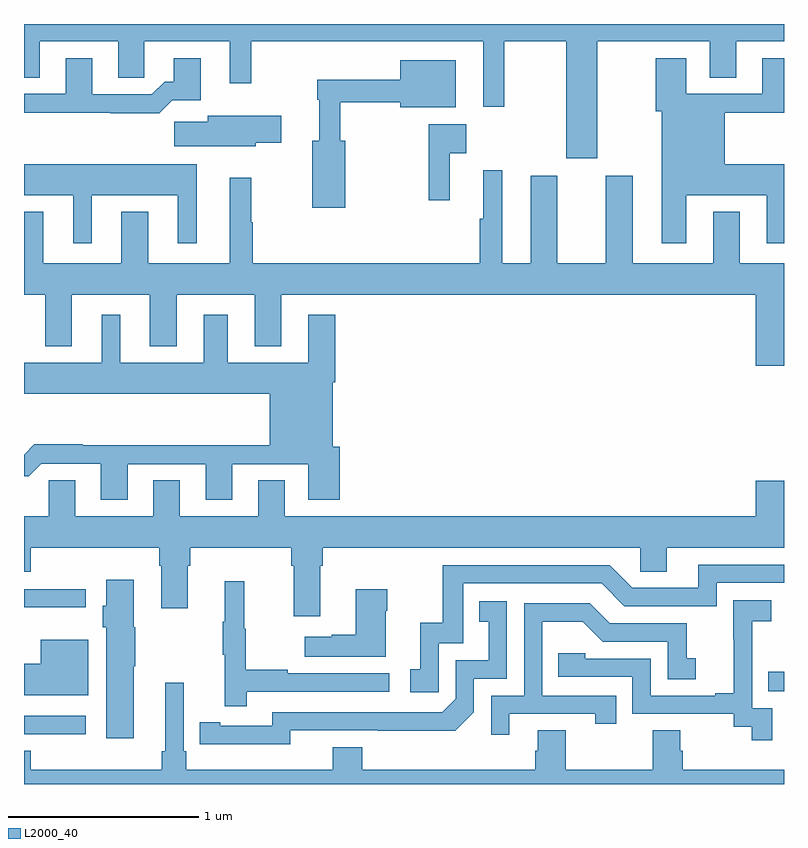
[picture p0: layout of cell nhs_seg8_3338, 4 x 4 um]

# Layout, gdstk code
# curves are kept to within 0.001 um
import gdstk
lib = gdstk.Library(unit=1e-6, precision=1e-09)
def R(c, l, rs):  # rectangles x0, y0, x1, y1
    for r in rs: c.add(gdstk.rectangle(r[:2], r[2:], *l))
def P(c, l, *ps):  # polygons
    for p in ps: c.add(gdstk.Polygon(p, *l))
L2000_40 = (2000, 40)

nhs_seg8_3338 = lib.new_cell('nhs_seg8_3338')
R(nhs_seg8_3338, L2000_40, [(317,1138.163,317.326,1138.26), (320.917,1138.389,321,1138.49), (317,1138.829,317.326,1138.926)])
P(nhs_seg8_3338, L2000_40, [(320.017,1141.808),(320.609,1141.808),(320.609,1141.618),(320.749,1141.618),(320.749,1141.808),(321,1141.808),(321,1141.9),(317,1141.9),(317,1141.618),(317.083,1141.618),(317.083,1141.808),(317.495,1141.808),(317.495,1141.618),(317.634,1141.618),(317.634,1141.808),(318.083,1141.808),(318.083,1141.587),(318.197,1141.587),(318.197,1141.808),(319.418,1141.808),(319.418,1141.464),(319.528,1141.464),(319.528,1141.808),(319.853,1141.808),(319.853,1141.194),(320.017,1141.194)],
  [(317.78,1141.499),(317.929,1141.499),(317.929,1141.72),(317.789,1141.72),(317.789,1141.597),(317.74,1141.597),(317.673,1141.53),(317.359,1141.53),(317.359,1141.72),(317.219,1141.72),(317.219,1141.533),(317,1141.533),(317,1141.432),(317.455,1141.432),(317.455,1141.43),(317.711,1141.43)],
  [(320.485,1140.998),(320.909,1140.998),(320.909,1140.747),(321,1140.747),(321,1141.162),(320.689,1141.162),(320.689,1141.432),(321,1141.432),(321,1141.72),(320.885,1141.72),(320.885,1141.533),(320.485,1141.533),(320.485,1141.72),(320.326,1141.72),(320.326,1141.44),(320.357,1141.44),(320.357,1140.747),(320.485,1140.747)],
  [(318.69,1141.285),(318.664,1141.285),(318.664,1141.489),(318.98,1141.489),(318.98,1141.463),(319.273,1141.463),(319.273,1141.708),(318.98,1141.708),(318.98,1141.607),(318.543,1141.607),(318.543,1141.502),(318.554,1141.502),(318.554,1141.285),(318.517,1141.285),(318.517,1140.933),(318.69,1140.933)],
  [(318.22,1141.274),(318.355,1141.274),(318.355,1141.417),(317.966,1141.417),(317.966,1141.385),(317.79,1141.385),(317.79,1141.256),(318.22,1141.256)],
  [(319.241,1141.22),(319.327,1141.22),(319.327,1141.372),(319.131,1141.372),(319.131,1140.972),(319.241,1140.972)],
  [(317.356,1140.998),(317.81,1140.998),(317.81,1140.747),(317.908,1140.747),(317.908,1141.162),(317,1141.162),(317,1140.998),(317.258,1140.998),(317.258,1140.747),(317.356,1140.747)],
  [(320.852,1140.102),(321,1140.102),(321,1140.64),(320.767,1140.64),(320.767,1140.913),(320.627,1140.913),(320.627,1140.64),(320.203,1140.64),(320.203,1141.102),(320.063,1141.102),(320.063,1140.64),(319.807,1140.64),(319.807,1141.102),(319.667,1141.102),(319.667,1140.64),(319.516,1140.64),(319.516,1141.129),(319.418,1141.129),(319.418,1140.876),(319.399,1140.876),(319.399,1140.64),(318.205,1140.64),(318.205,1140.857),(318.197,1140.857),(318.197,1141.09),(318.083,1141.09),(318.083,1140.64),(317.653,1140.64),(317.653,1140.913),(317.513,1140.913),(317.513,1140.64),(317.101,1140.64),(317.101,1140.913),(317,1140.913),(317,1140.476),(317.111,1140.476),(317.111,1140.203),(317.251,1140.203),(317.251,1140.476),(317.663,1140.476),(317.663,1140.203),(317.803,1140.203),(317.803,1140.476),(318.215,1140.476),(318.215,1140.203),(318.355,1140.203),(318.355,1140.476),(320.852,1140.476)],
  [(317.545,1139.583),(317.957,1139.583),(317.957,1139.397),(318.097,1139.397),(318.097,1139.583),(318.497,1139.583),(318.497,1139.397),(318.662,1139.397),(318.662,1139.676),(318.625,1139.676),(318.625,1140.014),(318.638,1140.014),(318.638,1140.37),(318.497,1140.37),(318.497,1140.118),(318.073,1140.118),(318.073,1140.37),(317.945,1140.37),(317.945,1140.118),(317.506,1140.118),(317.506,1140.37),(317.408,1140.37),(317.408,1140.118),(317,1140.118),(317,1139.954),(318.293,1139.954),(318.293,1139.684),(317.309,1139.684),(317.309,1139.687),(317.054,1139.687),(317,1139.633),(317,1139.519),(317.024,1139.519),(317.091,1139.586),(317.405,1139.586),(317.405,1139.397),(317.545,1139.397)],
  [(318.559,1139.048),(318.572,1139.048),(318.572,1139.144),(320.244,1139.144),(320.244,1139.017),(320.383,1139.017),(320.383,1139.144),(321,1139.144),(321,1139.497),(320.852,1139.497),(320.852,1139.308),(318.373,1139.308),(318.373,1139.498),(318.233,1139.498),(318.233,1139.308),(317.821,1139.308),(317.821,1139.498),(317.681,1139.498),(317.681,1139.308),(317.269,1139.308),(317.269,1139.498),(317.13,1139.498),(317.13,1139.308),(317,1139.308),(317,1139.016),(317.035,1139.016),(317.035,1139.144),(317.711,1139.144),(317.711,1139.048),(317.723,1139.048),(317.723,1138.824),(317.863,1138.824),(317.863,1139.048),(317.876,1139.048),(317.876,1139.144),(318.407,1139.144),(318.407,1139.048),(318.419,1139.048),(318.419,1138.782),(318.559,1138.782)],
  [(319.182,1138.641),(319.311,1138.641),(319.311,1138.956),(320.04,1138.956),(320.16,1138.836),(320.646,1138.836),(320.646,1138.959),(321,1138.959),(321,1139.055),(320.549,1139.055),(320.549,1138.932),(320.202,1138.932),(320.082,1139.052),(319.203,1139.052),(319.203,1138.75),(319.085,1138.75),(319.085,1138.503),(319.032,1138.503),(319.032,1138.383),(319.182,1138.383)],
  [(317.578,1138.519),(317.586,1138.519),(317.586,1138.725),(317.578,1138.725),(317.578,1138.975),(317.432,1138.975),(317.432,1138.839),(317.414,1138.839),(317.414,1138.725),(317.432,1138.725),(317.432,1138.14),(317.578,1138.14)],
  [(318.173,1138.386),(318.922,1138.386),(318.922,1138.482),(318.389,1138.482),(318.389,1138.502),(318.166,1138.502),(318.166,1138.716),(318.158,1138.716),(318.158,1138.966),(318.056,1138.966),(318.056,1138.753),(318.045,1138.753),(318.045,1138.579),(318.056,1138.579),(318.056,1138.308),(318.173,1138.308)],
  [(318.904,1138.811),(318.912,1138.811),(318.912,1138.924),(318.746,1138.924),(318.746,1138.685),(318.62,1138.685),(318.62,1138.675),(318.477,1138.675),(318.477,1138.571),(318.904,1138.571)],
  [(320.937,1138.299),(320.832,1138.299),(320.832,1138.529),(320.834,1138.529),(320.834,1138.757),(320.932,1138.757),(320.932,1138.867),(320.734,1138.867),(320.734,1138.661),(320.735,1138.661),(320.735,1138.378),(320.639,1138.378),(320.639,1138.365),(320.298,1138.365),(320.298,1138.56),(319.953,1138.56),(319.953,1138.587),(319.813,1138.587),(319.813,1138.464),(320.202,1138.464),(320.202,1138.269),(320.736,1138.269),(320.736,1138.201),(320.829,1138.201),(320.829,1138.131),(320.937,1138.131)],
  [(318.402,1138.182),(319.27,1138.181),(319.368,1138.278),(319.368,1138.455),(319.542,1138.455),(319.542,1138.861),(319.396,1138.861),(319.396,1138.755),(319.445,1138.755),(319.445,1138.551),(319.272,1138.551),(319.272,1138.35),(319.2,1138.278),(318.306,1138.278),(318.306,1138.206),(318.034,1138.206),(318.034,1138.226),(317.926,1138.226),(317.926,1138.11),(318.402,1138.109)],
  [(319.555,1138.269),(320.006,1138.269),(320.006,1138.218),(320.117,1138.218),(320.117,1138.365),(319.728,1138.365),(319.728,1138.754),(319.942,1138.754),(320.046,1138.65),(320.388,1138.65),(320.388,1138.452),(320.536,1138.452),(320.536,1138.561),(320.487,1138.561),(320.487,1138.746),(320.083,1138.746),(319.978,1138.851),(319.632,1138.851),(319.632,1138.365),(319.458,1138.365),(319.458,1138.158),(319.555,1138.158)],
  [(317.338,1138.66),(317.087,1138.66),(317.087,1138.533),(317,1138.533),(317,1138.367),(317.338,1138.367)],
  [(319.851,1138.184),(319.703,1138.184),(319.703,1138.074),(319.691,1138.074),(319.691,1137.976),(318.779,1137.976),(318.779,1138.093),(318.626,1138.093),(318.626,1137.976),(317.855,1137.976),(317.855,1138.072),(317.841,1138.072),(317.841,1138.432),(317.744,1138.432),(317.744,1138.072),(317.725,1138.072),(317.725,1137.976),(317.036,1137.976),(317.036,1138.074),(317,1138.074),(317,1137.9),(321,1137.9),(321,1137.976),(320.468,1137.976),(320.468,1138.074),(320.455,1138.074),(320.455,1138.184),(320.308,1138.184),(320.308,1137.976),(319.851,1137.976)])

lib.write_gds('nhs_seg8_3338.gds')
